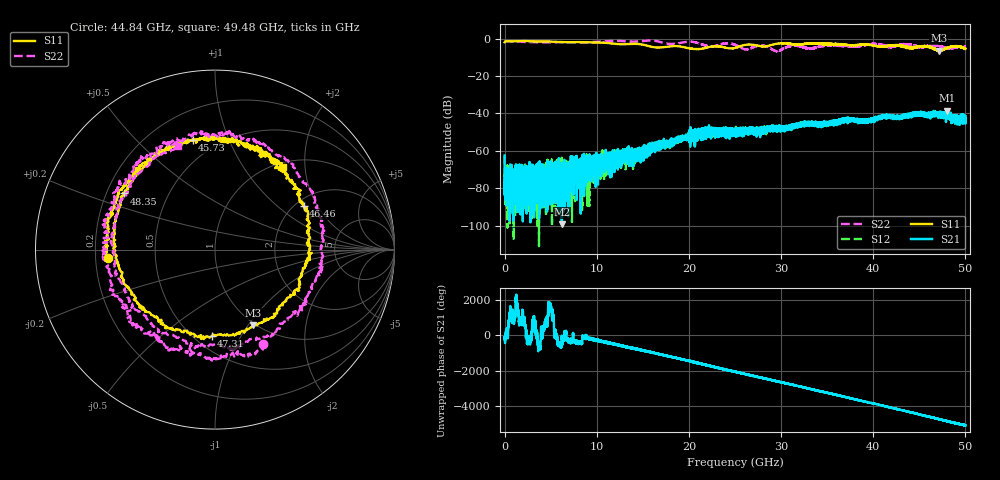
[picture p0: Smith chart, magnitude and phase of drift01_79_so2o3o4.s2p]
!Created with skrf (http://scikit-rf.org).
# Hz S RI R 50.0
!freq ReS11 ImS11 ReS21 ImS21 ReS12 ImS12 ReS22 ImS22
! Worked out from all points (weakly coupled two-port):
!   10001 points, 300 kHz to 50 GHz, reference 50 ohm
!   highest |S21| = -38.51 dB at 48.03 GHz (marker M1); lowest = -99.3 dB at 6.215 GHz (marker M2)
!   lowest |S11| = -6.5 dB at 47.12 GHz (marker M3), VSWR 2.79, Z = 48.7 - j52.9 ohm
!   |S11| at or under -10 dB: nowhere
!   |S22| runs from -6.8 to -1.0 dB; largest |S21 - S12| = 0.0045
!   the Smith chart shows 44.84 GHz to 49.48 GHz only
!   S11 on the Smith chart (normalised r, x): 44.84 GHz: 0.25, -0.04; 45.73 GHz: 0.37, +0.75; 46.46 GHz: 2.21, +1.55; 47.31 GHz: 0.60, -0.76; 48.35 GHz: 0.27, +0.26; 49.48 GHz: 1.09, +1.55
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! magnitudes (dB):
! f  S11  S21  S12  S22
! 300 kHz  -2.1  -62.4  -62.6  -1.3
! 255.3 MHz  -1.4  -74.9  -73.3  -1.4
! 4.39 GHz  -1.6  -73.0  -76.4  -2.1
! 6.215 GHz  -1.9  -99.3  -73.4  -1.9
! 8.335 GHz  -1.9  -66.4  -68.6  -2.1
! 16.67 GHz  -4.8  -59.5  -55.4  -1.6
! 21.27 GHz  -5.5  -49.4  -50.3  -2.8
! 25 GHz  -5.0  -51.9  -49.1  -3.4
! 28.08 GHz  -4.2  -50.9  -49.7  -3.9
! 29.55 GHz  -2.8  -47.5  -47.5  -6.7
! 31.3 GHz  -3.1  -47.9  -46.7  -3.9
! 33.34 GHz  -2.6  -45.5  -45.5  -5.3
! 41.67 GHz  -3.9  -41.5  -41.9  -4.4
! 44.84 GHz  -4.5  -39.9  -40.2  -4.6
! 45.73 GHz  -4.1  -41.6  -41.8  -4.0
! 46.46 GHz  -5.2  -40.6  -41.1  -3.8
! 47.12 GHz  -6.5  -41.9  -40.4  -4.1
! 47.31 GHz  -6.3  -40.2  -40.5  -4.3
! 48.03 GHz  -5.0  -38.5  -40.6  -5.2
! 48.35 GHz  -4.5  -41.7  -42.0  -5.3
! 49.48 GHz  -4.5  -42.6  -42.2  -4.3
! 50 GHz  -5.4  -41.5  -41.7  -4.2
